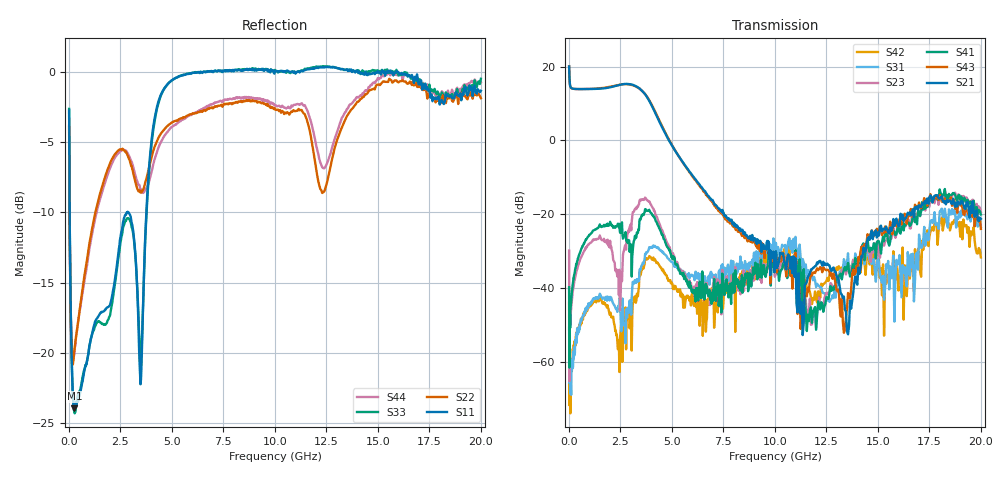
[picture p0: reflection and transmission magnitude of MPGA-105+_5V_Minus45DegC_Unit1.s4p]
!Mini-Circuits Laboratory
!S-Parameters
!Model: MPGA-105+
!Run / Lot / Date Code: NA / BP384P001-05 / 1348
!Fixture: NA; TB-561+
!AUTO PORT EXTENSION DONE: PORT<1>=113.35ps; PORT<2>=112.76ps; PORT<3>=112.16ps; PORT<4>=112.11ps
!Network Analyzer: PNA-X N5242A - 423 4 ports;  Serial number: 71256
!Date: 2/15/2014
!S/N: Unit# 1
!Correction: S11(Full 4 Port(1,2,3,4))
!S12(Full 4 Port(1,2,3,4))
!S13(Full 4 Port(1,2,3,4))
!S14(Full 4 Port(1,2,3,4))
!S21(Full 4 Port(1,2,3,4))
!S22(Full 4 Port(1,2,3,4))
!S23(Full 4 Port(1,2,3,4))
!S24(Full 4 Port(1,2,3,4))
!S31(Full 4 Port(1,2,3,4))
!S32(Full 4 Port(1,2,3,4))
!S33(Full 4 Port(1,2,3,4))
!S34(Full 4 Port(1,2,3,4))
!S41(Full 4 Port(1,2,3,4))
!S42(Full 4 Port(1,2,3,4))
!S43(Full 4 Port(1,2,3,4))
!S44(Full 4 Port(1,2,3,4))
!S4P File: Measurements: <S11,S12,S13,S14>,
!<S21,S22,S23,S24>,
!<S31,S32,S33,S34>,
!<S41,S42,S43,S44>:
# Hz S  dB  R 50
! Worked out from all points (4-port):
!   660 points, 10 MHz to 20 GHz, reference 50 ohm
!   strongest paths, dB at 10 MHz, 2.65 GHz, 6.775 GHz, 11.8 GHz, 20 GHz:
!     S21: 20.1, 15.3, -15.1, -35.0, -21.3
!     S43: 20.2, 15.3, -15.5, -36.7, -24.0
!     S41: -39.8, -26.2, -42.3, -49.5, -20.1
!     S23: -29.9, -30.4, -41.7, -49.9, -19.4
!     S31: -50.9, -50.0, -37.0, -37.2, -23.5
!     S42: -44.1, -49.2, -42.8, -44.4, -31.7
!   lowest |S11| = -23.9 dB at 270 MHz (marker M1), VSWR 1.14, Z = 44.5 - j2.42 ohm
!   |S11| at or under -10 dB: 36.11 MHz to 2.836 GHz (2.8 GHz wide, 195 % of centre); 2.893 GHz to 3.76 GHz (866.4 MHz wide, 26 % of centre)
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1e7  -2.77 -40.5  -22.93 47.4  -39.40 92.2  -47.07 109.1
     20.11 158.2  -3.93 -43.9  -29.90 97.9  -37.67 115.4
     -50.85 5.0  -57.48 -74.2  -2.66 -40.0  -22.05 51.4
     -39.83 -10.5  -44.10 -73.9  20.17 159.0  -3.83 -42.8
2.7e8  -23.91 -154.8  -18.22 -11.4  -56.59 108.8  -71.90 124.9
       14.01 157.7  -19.80 164.8  -37.75 58.8  -55.51 88.3
       -56.04 83.8  -79.37 -2.4  -24.24 -156.0  -18.20 -11.9
       -36.13 58.2  -54.81 100.0  13.99 157.7  -19.86 168.1
1.525e9  -17.15 46.9  -19.86 -78.0  -42.86 63.7  -57.30 89.5
         14.06 77.3  -8.62 60.8  -26.14 -67.4  -42.84 40.0
         -41.83 39.7  -61.01 86.1  -17.81 46.6  -19.85 -79.5
         -23.16 -59.1  -42.76 17.8  14.16 76.5  -8.99 60.2
2.575e9  -11.25 -150.4  -25.27 -160.7  -40.27 33.9  -57.62 10.7
         15.21 -2.4  -5.53 -16.3  -38.22 -117.8  -45.37 2.5
         -46.40 9.6  -61.21 46.5  -11.62 -155.3  -25.17 -161.7
         -22.22 -153.5  -50.31 155.4  15.22 -5.3  -5.61 -20.2
3.25e9  -13.50 105.8  -26.09 -24.1  -56.25 144.0  -62.51 -142.8
        14.74 -71.6  -8.00 -95.4  -18.30 -119.4  -36.59 -158.0
        -38.66 144.2  -67.19 104.8  -13.55 107.1  -27.11 -27.8
        -26.51 -158.7  -44.02 150.3  14.63 -73.9  -7.51 -92.8
3.9e9  -6.64 162.6  -19.60 -116.8  -29.44 114.6  -43.99 124.5
       10.75 -144.7  -6.74 150.0  -16.51 124.1  -30.13 103.7
       -28.95 100.7  -45.23 108.1  -7.00 157.7  -19.76 -119.4
       -18.80 117.6  -31.39 105.4  10.93 -146.8  -7.77 154.1
2e10  -1.37 -85.6  -21.08 -129.0  -23.56 -12.0  -20.23 -170.3
      -21.26 -128.9  -1.90 -113.1  -19.41 -177.5  -31.49 -3.8
      -23.49 -13.0  -19.37 -177.6  -0.52 -122.8  -23.95 -110.4
      -20.09 -169.8  -31.72 -7.5  -24.00 -110.6  -0.77 -121.7
